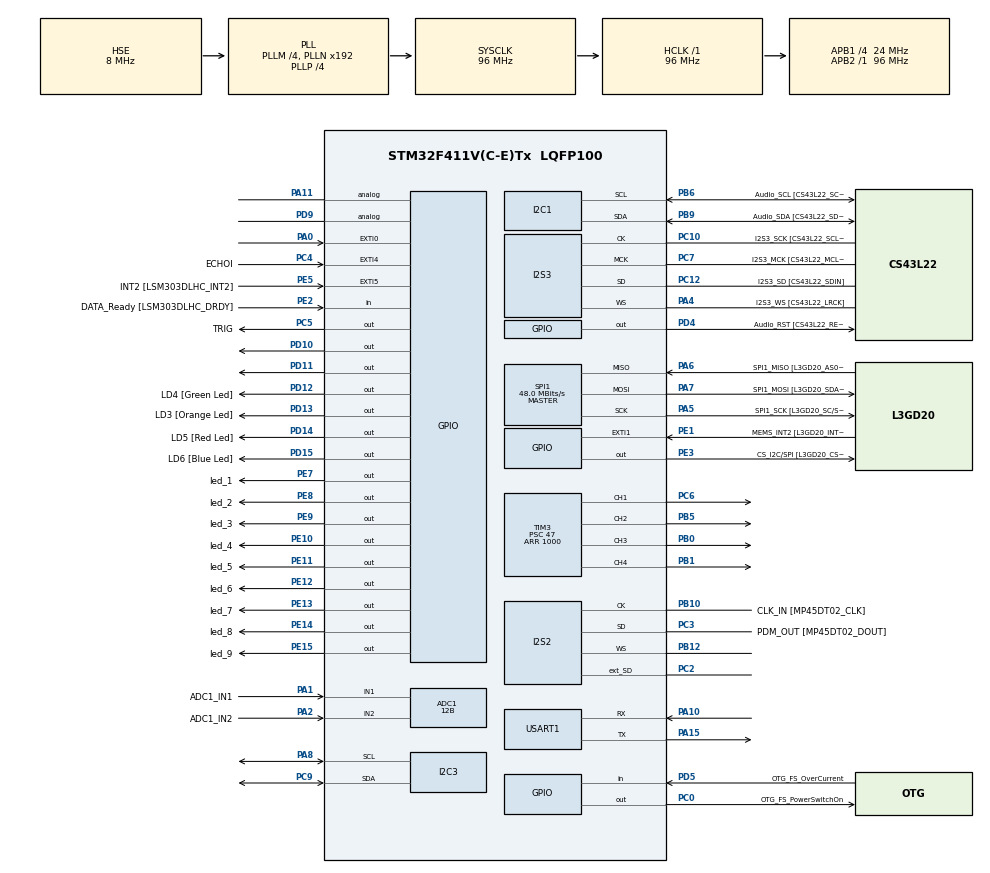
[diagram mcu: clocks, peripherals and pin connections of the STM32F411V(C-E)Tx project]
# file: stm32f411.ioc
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ADC1.Channel-0\#ChannelRegularConversion=ADC_CHANNEL_2
ADC1.Channel-1\#ChannelRegularConversion=ADC_CHANNEL_1
ADC1.ClockPrescaler=ADC_CLOCK_SYNC_PCLK_DIV4
ADC1.ContinuousConvMode=DISABLE
ADC1.DMAContinuousRequests=ENABLE
ADC1.DataAlign=ADC_DATAALIGN_RIGHT
ADC1.DiscontinuousConvMode=ENABLE
ADC1.EOCSelection=ADC_EOC_SINGLE_CONV
ADC1.EnableAnalogWatchDog=false
ADC1.ExternalTrigConv=ADC_SOFTWARE_START
ADC1.ExternalTrigConvEdge=ADC_EXTERNALTRIGCONVEDGE_NONE
ADC1.InjNumberOfConversion=0
ADC1.NbrOfConversion=2
ADC1.NbrOfConversionFlag=1
ADC1.NbrOfDiscConversion=1
ADC1.Rank-0\#ChannelRegularConversion=1
ADC1.Rank-1\#ChannelRegularConversion=2
ADC1.Resolution=ADC_RESOLUTION_12B
ADC1.SamplingTime-0\#ChannelRegularConversion=ADC_SAMPLETIME_56CYCLES
ADC1.SamplingTime-1\#ChannelRegularConversion=ADC_SAMPLETIME_56CYCLES
ADC1.ScanConvMode=ENABLE
ADC1.master=1
Dma.ADC1.0.Direction=DMA_PERIPH_TO_MEMORY
Dma.ADC1.0.FIFOMode=DMA_FIFOMODE_DISABLE
Dma.ADC1.0.Instance=DMA2_Stream0
Dma.ADC1.0.MemDataAlignment=DMA_MDATAALIGN_WORD
Dma.ADC1.0.MemInc=DMA_MINC_ENABLE
Dma.ADC1.0.Mode=DMA_CIRCULAR
Dma.ADC1.0.PeriphDataAlignment=DMA_PDATAALIGN_WORD
Dma.ADC1.0.PeriphInc=DMA_PINC_DISABLE
Dma.ADC1.0.Priority=DMA_PRIORITY_LOW
Dma.Request0=ADC1
I2S2.AudioFreq=I2S_AUDIOFREQ_96K
I2S2.ErrorAudioFreq=0.15 %
I2S2.FullDuplexMode=I2S_FULLDUPLEXMODE_ENABLE
I2S2.Instance=SPI$Index
I2S2.RealAudioFreq=96.153 KHz
I2S2.VirtualMode=I2S_MODE_MASTER
I2S3.AudioFreq=I2S_AUDIOFREQ_96K
I2S3.ErrorAudioFreq=-6.99 %
I2S3.FullDuplexMode=I2S_FULLDUPLEXMODE_DISABLE
I2S3.Instance=SPI$Index
I2S3.RealAudioFreq=89.285 KHz
I2S3.VirtualMode=I2S_MODE_MASTER
IWDG.Prescaler=IWDG_PRESCALER_32
IWDG.Reload=1024
Mcu.Family=STM32F4
Mcu.Name=STM32F411V(C-E)Tx
Mcu.Package=LQFP100
NVIC.ADC_IRQn=true\:0\:0\:false\:false\:true\:true
NVIC.DMA2_Stream0_IRQn=true\:0\:0\:false\:false\:true\:false
NVIC.EXTI4_IRQn=true\:0\:0\:false\:false\:true\:true
NVIC.PriorityGroup=NVIC_PRIORITYGROUP_0
NVIC.TIM1_TRG_COM_TIM11_IRQn=true\:0\:0\:false\:false\:true\:true
NVIC.TIM1_UP_TIM10_IRQn=true\:0\:0\:false\:false\:true\:true
NVIC.TIM3_IRQn=true\:0\:0\:false\:false\:true\:true
NVIC.USART1_IRQn=true\:0\:0\:false\:false\:true\:true
PA0-WKUP.GPIO_ModeDefaultEXTI=GPIO_MODE_EVT_RISING
PA0-WKUP.Signal=GPXTI0
PA1.GPIO_Label=ADC1_IN1
PA1.Signal=ADCx_IN1
PA10.Mode=Asynchronous
PA10.Signal=USART1_RX
PA11.Signal=GPIO_Analog
PA12.GPIO_Label=OTG_FS_DP
PA12.Signal=USB_OTG_FS_DP
PA13.GPIO_Label=SWDIO
PA13.Mode=Serial_Wire
PA13.Signal=SYS_JTMS-SWDIO
PA14.GPIO_Label=SWCLK
PA14.Mode=Serial_Wire
PA14.Signal=SYS_JTCK-SWCLK
PA15.Mode=Asynchronous
PA15.Signal=USART1_TX
PA2.GPIO_Label=ADC1_IN2
PA2.Signal=ADCx_IN2
PA4.GPIO_Label=I2S3_WS [CS43L22_LRCK]
PA4.GPIO_Mode=GPIO_MODE_AF_PP
PA4.GPIO_PuPd=GPIO_NOPULL
PA4.GPIO_Speed=GPIO_SPEED_FREQ_LOW
PA4.Mode=Half_Duplex_Master
PA4.Signal=I2S3_WS
PA5.GPIO_Label=SPI1_SCK [L3GD20_SC/SPC]
PA5.Mode=Full_Duplex_Master
PA5.Signal=SPI1_SCK
PA6.GPIO_Label=SPI1_MISO [L3GD20_AS0/SDO]
PA6.Mode=Full_Duplex_Master
PA6.Signal=SPI1_MISO
PA7.GPIO_Label=SPI1_MOSI [L3GD20_SDA/SDI/SDO]
PA7.Mode=Full_Duplex_Master
PA7.Signal=SPI1_MOSI
PA8.Mode=I2C
PA8.Signal=I2C3_SCL
PA9.GPIO_Label=VBUS_FS
PA9.Signal=USB_OTG_FS_VBUS
PB0.GPIO_Speed=GPIO_SPEED_FREQ_HIGH
PB0.Signal=S_TIM3_CH3
PB1.GPIO_Speed=GPIO_SPEED_FREQ_HIGH
PB1.Signal=S_TIM3_CH4
PB10.GPIO_Label=CLK_IN [MP45DT02_CLK]
PB10.Mode=Full_Duplex_Master
PB10.Signal=I2S2_CK
PB12.Mode=Full_Duplex_Master
PB12.Signal=I2S2_WS
PB3.GPIO_Label=SWO
PB3.Signal=SYS_JTDO-SWO
PB5.GPIO_Speed=GPIO_SPEED_FREQ_HIGH
PB5.Signal=S_TIM3_CH2
PB6.GPIO_Label=Audio_SCL [CS43L22_SCL]
PB6.GPIO_Mode=GPIO_MODE_AF_OD
PB6.GPIO_PuPd=GPIO_NOPULL
PB6.GPIO_Speed=GPIO_SPEED_FREQ_LOW
PB6.Mode=I2C
PB6.Signal=I2C1_SCL
PB9.GPIO_Label=Audio_SDA [CS43L22_SDA]
PB9.GPIO_Mode=GPIO_MODE_AF_OD
PB9.GPIO_PuPd=GPIO_NOPULL
PB9.GPIO_Speed=GPIO_SPEED_FREQ_LOW
PB9.Mode=I2C
PB9.Signal=I2C1_SDA
PC0.GPIO_Label=OTG_FS_PowerSwitchOn
PC0.PinState=GPIO_PIN_SET
PC0.Signal=GPIO_Output
PC10.GPIO_Label=I2S3_SCK [CS43L22_SCLK]
PC10.GPIO_Mode=GPIO_MODE_AF_PP
PC10.GPIO_PuPd=GPIO_NOPULL
PC10.GPIO_Speed=GPIO_SPEED_FREQ_LOW
PC10.Mode=Half_Duplex_Master
PC10.Signal=I2S3_CK
PC12.GPIO_Label=I2S3_SD [CS43L22_SDIN]
PC12.GPIO_Mode=GPIO_MODE_AF_PP
PC12.GPIO_PuPd=GPIO_NOPULL
PC12.GPIO_Speed=GPIO_SPEED_FREQ_LOW
PC12.Mode=Half_Duplex_Master
PC12.Signal=I2S3_SD
PC14-OSC32_IN.GPIO_Label=PC14-OSC32_IN
PC14-OSC32_IN.Mode=LSE-External-Oscillator
PC14-OSC32_IN.Signal=RCC_OSC32_IN
PC15-OSC32_OUT.GPIO_Label=PC15-OSC32_OUT
PC15-OSC32_OUT.Mode=LSE-External-Oscillator
PC15-OSC32_OUT.Signal=RCC_OSC32_OUT
PC2.Mode=Full_Duplex_Master
PC2.Signal=I2S2_ext_SD
PC3.GPIO_Label=PDM_OUT [MP45DT02_DOUT]
PC3.Mode=Full_Duplex_Master
PC3.Signal=I2S2_SD
PC4.GPIO_Label=ECHOI
PC4.GPIO_ModeDefaultEXTI=GPIO_MODE_IT_RISING_FALLING
PC4.Signal=GPXTI4
PC5.GPIO_Label=TRIG
PC5.Signal=GPIO_Output
PC6.GPIO_Speed=GPIO_SPEED_FREQ_HIGH
PC6.Signal=S_TIM3_CH1
PC7.GPIO_Label=I2S3_MCK [CS43L22_MCLK]
PC7.GPIO_Mode=GPIO_MODE_AF_PP
PC7.GPIO_PuPd=GPIO_NOPULL
PC7.GPIO_Speed=GPIO_SPEED_FREQ_LOW
PC7.Mode=Master_Clock_Activated
PC7.Signal=I2S3_MCK
PC9.Mode=I2C
PC9.Signal=I2C3_SDA
PD10.Signal=GPIO_Output
PD11.Signal=GPIO_Output
PD12.GPIO_Label=LD4 [Green Led]
PD12.GPIO_PuPd=GPIO_NOPULL
PD12.GPIO_Speed=GPIO_SPEED_FREQ_LOW
PD12.Signal=GPIO_Output
PD13.GPIO_Label=LD3 [Orange Led]
PD13.GPIO_PuPd=GPIO_NOPULL
PD13.GPIO_Speed=GPIO_SPEED_FREQ_LOW
PD13.Signal=GPIO_Output
PD14.GPIO_Label=LD5 [Red Led]
PD14.GPIO_PuPd=GPIO_NOPULL
PD14.GPIO_Speed=GPIO_SPEED_FREQ_LOW
PD14.Signal=GPIO_Output
PD15.GPIO_Label=LD6 [Blue Led]
PD15.GPIO_PuPd=GPIO_NOPULL
PD15.GPIO_Speed=GPIO_SPEED_FREQ_LOW
PD15.Signal=GPIO_Output
PD4.GPIO_Label=Audio_RST [CS43L22_RESET]
PD4.Signal=GPIO_Output
PD5.GPIO_Label=OTG_FS_OverCurrent
PD5.Signal=GPIO_Input
PD9.Signal=GPIO_Analog
PE1.GPIO_Label=MEMS_INT2 [L3GD20_INT2]
PE1.GPIO_ModeDefaultEXTI=GPIO_MODE_EVT_RISING
PE1.Signal=GPXTI1
PE10.GPIO_Label=led_4
PE10.Signal=GPIO_Output
PE11.GPIO_Label=led_5
PE11.Signal=GPIO_Output
PE12.GPIO_Label=led_6
PE12.Signal=GPIO_Output
PE13.GPIO_Label=led_7
PE13.Signal=GPIO_Output
PE14.GPIO_Label=led_8
PE14.Signal=GPIO_Output
PE15.GPIO_Label=led_9
PE15.Signal=GPIO_Output
PE2.GPIO_Label=DATA_Ready [LSM303DLHC_DRDY]
PE2.Signal=GPIO_Input
PE3.GPIO_Label=CS_I2C/SPI [L3GD20_CS_I2C/SPI]
PE3.Signal=GPIO_Output
PE5.GPIO_Label=INT2 [LSM303DLHC_INT2]
PE5.GPIO_ModeDefaultEXTI=GPIO_MODE_EVT_RISING
PE5.Signal=GPXTI5
PE7.GPIO_Label=led_1
PE7.Signal=GPIO_Output
PE8.GPIO_Label=led_2
PE8.Signal=GPIO_Output
PE9.GPIO_Label=led_3
PE9.Signal=GPIO_Output
PH0\ -\ OSC_IN.GPIO_Label=PH0-OSC_IN
PH0\ -\ OSC_IN.Mode=HSE-External-Oscillator
PH0\ -\ OSC_IN.Signal=RCC_OSC_IN
PH1\ -\ OSC_OUT.GPIO_Label=PH1-OSC_OUT
PH1\ -\ OSC_OUT.Mode=HSE-External-Oscillator
PH1\ -\ OSC_OUT.Signal=RCC_OSC_OUT
ProjectManager.HeapSize=0x200
ProjectManager.StackSize=0x400
ProjectManager.TargetToolchain=SW4STM32
RCC.48MHZClocksFreq_Value=48000000
RCC.AHBFreq_Value=96000000
RCC.APB1CLKDivider=RCC_HCLK_DIV4
RCC.APB1Freq_Value=24000000
RCC.APB1TimFreq_Value=48000000
RCC.APB2Freq_Value=96000000
RCC.APB2TimFreq_Value=96000000
RCC.CortexFreq_Value=96000000
RCC.HCLKFreq_Value=96000000
RCC.HSE_VALUE=8000000
RCC.HSI_VALUE=16000000
RCC.PLLI2SM=5
RCC.PLLI2SN=200
RCC.PLLM=4
RCC.PLLP=RCC_PLLP_DIV4
RCC.PLLQ=8
RCC.PLLSourceVirtual=RCC_PLLSOURCE_HSE
RCC.SYSCLKFreq_VALUE=96000000
RCC.SYSCLKSource=RCC_SYSCLKSOURCE_PLLCLK
RCC.VCOOutputFreq_Value=384000000
SH.ADCx_IN1.0=ADC1_IN1,IN1
SH.ADCx_IN2.0=ADC1_IN2,IN2
SH.S_TIM3_CH1.0=TIM3_CH1,PWM Generation1 CH1
SH.S_TIM3_CH2.0=TIM3_CH2,PWM Generation2 CH2
SH.S_TIM3_CH3.0=TIM3_CH3,PWM Generation3 CH3
SH.S_TIM3_CH4.0=TIM3_CH4,PWM Generation4 CH4
SPI1.BaudRatePrescaler=SPI_BAUDRATEPRESCALER_2
SPI1.CalculateBaudRate=48.0 MBits/s
SPI1.Direction=SPI_DIRECTION_2LINES
SPI1.Mode=SPI_MODE_MASTER
SPI1.VirtualType=VM_MASTER
TIM10.Period=10000
TIM10.Prescaler=63
TIM11.Period=10000
TIM11.Prescaler=47
TIM3.Channel-PWM\ Generation1\ CH1=TIM_CHANNEL_1
TIM3.Channel-PWM\ Generation2\ CH2=TIM_CHANNEL_2
TIM3.Channel-PWM\ Generation3\ CH3=TIM_CHANNEL_3
TIM3.Channel-PWM\ Generation4\ CH4=TIM_CHANNEL_4
TIM3.Period=1000
TIM3.Prescaler=47
USART1.VirtualMode=VM_ASYNC
VP_IWDG_VS_IWDG.Mode=IWDG_Activate
VP_TIM10_VS_ClockSourceINT.Mode=Enable_Timer
VP_TIM11_VS_ClockSourceINT.Mode=Enable_Timer
VP_TIM3_VS_ClockSourceINT.Mode=Internal
board=32F411EDISCOVERY

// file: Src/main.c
/**
  ******************************************************************************
  * @file           : main.c
  * @brief          : Main program body
  ******************************************************************************
  ** This notice applies to any and all portions of this file
  * that are not between comment pairs USER CODE BEGIN and
  * USER CODE END. Other portions of this file, whether
  * inserted by the user or by software development tools
  * are owned by their respective copyright owners.
  *
  * COPYRIGHT(c) 2019 STMicroelectronics
  *
  * Redistribution and use in source and binary forms, with or without modification,
  * are permitted provided that the following conditions are met:
  *   1. Redistributions of source code must retain the above copyright notice,
  *      this list of conditions and the following disclaimer.
  *   2. Redistributions in binary form must reproduce the above copyright notice,
  *      this list of conditions and the following disclaimer in the documentation
  *      and/or other materials provided with the distribution.
  *   3. Neither the name of STMicroelectronics nor the names of its contributors
  *      may be used to endorse or promote products derived from this software
  *      without specific prior written permission.
  *
  * THIS SOFTWARE IS PROVIDED BY THE COPYRIGHT HOLDERS AND CONTRIBUTORS "AS IS"
  * AND ANY EXPRESS OR IMPLIED WARRANTIES, INCLUDING, BUT NOT LIMITED TO, THE
  * IMPLIED WARRANTIES OF MERCHANTABILITY AND FITNESS FOR A PARTICULAR PURPOSE ARE
  * DISCLAIMED. IN NO EVENT SHALL THE COPYRIGHT HOLDER OR CONTRIBUTORS BE LIABLE
  * FOR ANY DIRECT, INDIRECT, INCIDENTAL, SPECIAL, EXEMPLARY, OR CONSEQUENTIAL
  * DAMAGES (INCLUDING, BUT NOT LIMITED TO, PROCUREMENT OF SUBSTITUTE GOODS OR
  * SERVICES; LOSS OF USE, DATA, OR PROFITS; OR BUSINESS INTERRUPTION) HOWEVER
  * CAUSED AND ON ANY THEORY OF LIABILITY, WHETHER IN CONTRACT, STRICT LIABILITY,
  * OR TORT (INCLUDING NEGLIGENCE OR OTHERWISE) ARISING IN ANY WAY OUT OF THE USE
  * OF THIS SOFTWARE, EVEN IF ADVISED OF THE POSSIBILITY OF SUCH DAMAGE.
  *
  ******************************************************************************
  */
#include "main.h"
#include "stm32f4xx_hal.h"
#include "adc.h"
#include "dma.h"
#include "i2c.h"
#include "i2s.h"
#include "iwdg.h"
#include "spi.h"
#include "tim.h"
#include "usart.h"
#include "gpio.h"

/* USER CODE BEGIN Includes */
#include <string.h>
#include "I2C.h"
#include "math.h"
#include "I2C_LCD.h"
/* USER CODE END Includes */

/* USER CODE BEGIN PV */
/* Private variables ---------------------------------------------------------*/

/* USER CODE END PV */

void SystemClock_Config(void);

/* USER CODE BEGIN PFP */
/* Private function prototypes -----------------------------------------------*/

/* USER CODE END PFP */

/* USER CODE BEGIN 0 */
void init_timing();
void get_distance();
void udelay(uint32_t useconds);

typedef enum state_t {                                                                               // the struct with states for rangefinder
	 IDLE_S,
	 TRIGGERING_S,
	 WAITING_FOR_ECHO_START_S,
	 WAITING_FOR_ECHO_STOP_S,
	 TRIG_NOT_WENT_LOW_S,
	 ECHO_TIMEOUT_S,
	 ECHO_NOT_WENT_LOW_S,
	 READING_DATA_S,
	 ERROR_S
} state_t;

char str[18];
uint32_t ADC_BUF[2];                                                                                 // the buffer to store the data from adc
uint8_t information[4] = {0, 0, 0, 0};
int last_id = -1;

int level = -1;                                                                                      // the level of water
int lighting = -1;                                                                                   // the current lighting level
int humidity = -1;																					 // the current humidity level
int previous_lcd_reload_period = 0;                                                                  // the last time display was reloaded
int previous_data_updated_period = 0;                                                                // the last time the data on display was updated
int ip_first = 0, ip_second = 0, ip_third = 0, ip_fourth = 0;

volatile state_t state = IDLE_S;                                                                     //  checks rangefinder state
volatile uint32_t echo_start;                                                                        //  the time when signal starts
volatile uint32_t echo_finish;                                                                       //  the time when signal ends
volatile uint32_t measured_time;                                                                     //  the time that signal travels
volatile uint32_t tim10_overflows = 0;                                                               //  the variable to null 10th timer

#define SIZE_OF_CHECKED_DATA                    10000                                                // the number of values to get the middle one
#define MINIMUM_LIGHTING                        0                                                    // the minimum adc lighting level
#define MAXIMUM_LIGHTING                        1200                                                 // the maximum adc lighting value
#define MINIMUM_HUMIDITY                        0                                                    // the minimum adc humidity value
#define MAXIMUM_HUMIDITY                        3100                                                 // the maximum adc humidity value
#define USE_TIM10_TIMING                        1                                                    // defined to use the 10th time
#define TIME_TO_UPDATE_LCD_DATA                 1000												 // the period to update the data on lcd (milliseconds)
#define TIME_TO_RELOAD_LCD                      10000												 // the period to fully reload lcd (milliseconds)
#define SYSTEM_CORE_CLOCK_IN_MHZ                (SystemCoreClock / 1000000)							 // the system core frequency
#define LCD_NOT_RELOADED_PERIOD                 (HAL_GetTick() - previous_lcd_reload_period)         // the period of time while display wasn't reloaded
#define LCD_DATA_NOT_UPDATED_PERIOD             (HAL_GetTick() - previous_data_updated_period)       // the period of time while data on display wasn't updated

// the function scale the value of lighting and humidity from adc to scale from 0 to 100
uint32_t convert(uint32_t value, uint32_t max, uint32_t min){
	value = value - min;
	if (value <= 0)
		return 0;

	uint32_t step = (uint32_t)(max - min) / 100;
	uint32_t converted = (uint32_t)(value / step);

	if(converted > 100) return 100;
	if(converted < 0) return 0;

	return converted;
}

// the function get the arithmetic mean of the data, using the SIZE_OF_CHECKED_DATA
// as the total number of observed data
uint32_t get_middle_value(uint32_t* array){
	uint32_t middle_value = 0;
	uint32_t sum = 0;

	for(int i = 0; i < SIZE_OF_CHECKED_DATA; i++){
		sum += *(array + i);
	}

	middle_value = (uint32_t)(sum / SIZE_OF_CHECKED_DATA);

	return middle_value;
}

// the function gets values of lighting and humidity from adc applying to them
// get_middle_value() function
uint32_t* get_data(){
	  uint32_t adcResultsLighting[SIZE_OF_CHECKED_DATA] = {0};
	  uint32_t adcResultsHumidity[SIZE_OF_CHECKED_DATA] = {0};

	  for(int i = 0; i < SIZE_OF_CHECKED_DATA; i++){
		  HAL_ADC_Start_DMA(&hadc1, (uint32_t*)ADC_BUF, 2);
		  HAL_ADC_Start_IT(&hadc1);
		  adcResultsLighting[i] = ADC_BUF[0];
		  adcResultsHumidity[i] = ADC_BUF[1];
	  }

	  static uint32_t middleValues[2];
	  middleValues[0] = get_middle_value(adcResultsLighting);
	  middleValues[1] = get_middle_value(adcResultsHumidity);

	  return middleValues;
}

// the function to print the
// main data on it
void initialize_and_update_display(int addr){
	//LCD_Print(0, "  Flower - Station  ");
	LCD_Init(addr<<1, hi2c3);
	init_timing();
	LCD_ADDR = addr<<1;
	HAL_GPIO_WritePin(TRIG_GPIO_Port, TRIG_Pin, GPIO_PIN_RESET);
	LCD_Clear();
	LCD_PPrint(0, 0, "Light: ");
	LCD_PPrint(1, 0,  "Humid: ");
	//LCD_Print(3, "Water level:       %");
}

// the function gets converted lighting and humidity and stores them
// to the glodal variables
void get_lighting_and_huminity(){
	uint32_t* data = get_data();
	lighting = convert(data[0], MAXIMUM_LIGHTING, MINIMUM_LIGHTING);
	humidity = convert(data[1], MAXIMUM_HUMIDITY, MINIMUM_HUMIDITY);
}

// the function gets the level of water using the formula which
// depends on the height of water container
void get_water_level(){
	get_distance();
	uint32_t distance = measured_time/58;
	level = ceill((11.5 - distance) * 8.7);
	if(level > 100) level = 100;
	if(level < 0) level = 0;
}

// the function gets distance using busy loops
void get_distance(){
	HAL_GPIO_WritePin(TRIG_GPIO_Port, TRIG_Pin, GPIO_PIN_SET);
	udelay(16);
	HAL_GPIO_WritePin(TRIG_GPIO_Port, TRIG_Pin, GPIO_PIN_RESET);

	state = WAITING_FOR_ECHO_START_S;
	while (state == WAITING_FOR_ECHO_START_S && state != ERROR_S){}
	while (state == WAITING_FOR_ECHO_STOP_S && state != ERROR_S ){}
}

// the function sends data to esp8266 using UART protocol
void send_data_to_esp(){
	uint32_t buffer_data = lighting * 5000 + level;
	char buffer[11];
	snprintf(buffer, sizeof buffer, "%lu\n", buffer_data);
	HAL_UART_Transmit(&huart1, buffer, strlen(buffer), HAL_MAX_DELAY);
}

void HAL_TIM_PeriodElapsedCallback(TIM_HandleTypeDef *htim)
{
	if(htim->Instance == TIM10){ ++tim10_overflows; }
}

void TIM10_reinit()
{
	 HAL_TIM_Base_Stop(&htim10);
	 __HAL_TIM_SET_PRESCALER( &htim10, (SYSTEM_CORE_CLOCK_IN_MHZ - 1) );
	 __HAL_TIM_SET_COUNTER( &htim10, 0 );
	 tim10_overflows = 0;
	 HAL_TIM_Base_Start_IT(&htim10);
}

uint32_t get_tim10_us()
{
	 __HAL_TIM_DISABLE_IT(&htim10, TIM_IT_UPDATE);
	 //__disable_irq();
	 uint32_t res = tim10_overflows * 10000 + __HAL_TIM_GET_COUNTER(&htim10);
	 //__enable_irq();
	 __HAL_TIM_ENABLE_IT(&htim10, TIM_IT_UPDATE);
	 return res;
}

void udelay_TIM10(uint32_t useconds) {
	 uint32_t before = get_tim10_us();
	 while( get_tim10_us() < before + useconds){}
}

void init_timing()
{
	#ifdef  USE_HAL_DELAY_AND_ASM
		return;
	#elif defined USE_DWT_TIMING
		DWT_Init();
	#elif defined USE_TIM10_TIMING
		TIM10_reinit();
	#else
		#error "Unknown timing method."
	#endif
}

uint32_t get_us()
{
	#ifdef  USE_HAL_DELAY_AND_ASM
		return 1000*HAL_GetTick();
	#elif defined USE_DWT_TIMING
		return get_DWT_us();
	#elif defined USE_TIM10_TIMING
		return get_tim10_us();
	#else
		#error "Unknown timing method."
	#endif
}

void HAL_GPIO_EXTI_Callback(uint16_t GPIO_Pin)
{
	 if (GPIO_Pin == ECHOI_Pin)
	 {
		 switch (state) {
		 case WAITING_FOR_ECHO_START_S: {
			 echo_start = get_us();
			 state = WAITING_FOR_ECHO_STOP_S;
			 break;
		 }
		 case WAITING_FOR_ECHO_STOP_S: {
			 echo_finish = get_us();
			 measured_time = echo_finish - echo_start;
			 state = READING_DATA_S;
			 break;
		 }
		 default:
			 state = ERROR_S;
		 }
	 }
}

void udelay(uint32_t useconds)
{
	#ifdef  USE_HAL_DELAY_AND_ASM
	 	 udelay_asm(useconds);
	#elif defined USE_DWT_TIMING
	 	 udelay_DWT(useconds);
	#elif defined USE_TIM10_TIMING
	 	 udelay_TIM10(useconds);
	#else
		#error "Unknown timing method."
	#endif
}

/* USER CODE END 0 */

int main(void)
{
  /* USER CODE BEGIN 1 */
//	extern void initialise_monitor_handles(void);
//	initialise_monitor_handles();
  /* USER CODE END 1 */

  /* MCU Configuration----------------------------------------------------------*/

  /* Reset of all peripherals, Initializes the Flash interface and the Systick. */
  HAL_Init();

  /* Configure the system clock */
  SystemClock_Config();

  /* Initialize all configured peripherals */
  MX_GPIO_Init();
  HAL_GPIO_WritePin(GPIOD, GPIO_PIN_11, 1);
  MX_DMA_Init();
  MX_I2C1_Init();
  MX_I2S2_Init();
  MX_I2S3_Init();
  MX_SPI1_Init();
  MX_ADC1_Init();
  MX_TIM3_Init();
  MX_I2C3_Init();
  MX_TIM10_Init();
  MX_TIM11_Init();
  MX_IWDG_Init();
  MX_USART1_UART_Init();
  /* USER CODE BEGIN 2 */
  HAL_ADC_Start_DMA(&hadc1, (uint32_t*)ADC_BUF, 2);
  HAL_TIM_PWM_Start(&htim3, TIM_CHANNEL_1);

  int carr = 0x3f;
  initialize_and_update_display(carr);
  LCD_PPrint(0, 0, "Ip is loading...");
  int watered = 0;
  int pump_started = 0;
  int time_start = HAL_GetTick();
  int level_updated = HAL_GetTick();

  uint8_t str[20];
  HAL_UART_Receive_IT(&huart1,(uint8_t*) str, 20);
  //search_I2C_bus_without_semihosting(hi2c3);
  /* USER CODE END 2 */

  /* Infinite loop */
  /* USER CODE BEGIN WHILE */
  while (1)
  {
	get_lighting_and_huminity();

	if(HAL_GetTick() - time_start <= 10000){
		HAL_UART_Receive_IT(&huart1, (uint8_t*) str, 20);
		if(LCD_DATA_NOT_UPDATED_PERIOD > 1000){
			char str_lcd[] = "                    ";
			int i = 0;
			while(*(str + i) != (uint8_t)'-'){
				*(str_lcd + i) = *(str + i);
				i++;
			}
			LCD_PPrint(0, 0, str_lcd);
			previous_data_updated_period = HAL_GetTick();
		}
	}else{
		if(LCD_DATA_NOT_UPDATED_PERIOD > TIME_TO_UPDATE_LCD_DATA){
				LCD_PPrintInt(0, 9, lighting, 10);
				LCD_PPrintInt(1, 9, humidity, 10);
				previous_data_updated_period = HAL_GetTick();
			}

			if(LCD_NOT_RELOADED_PERIOD > TIME_TO_RELOAD_LCD){
				LCD_Clear();
				initialize_and_update_display(carr);
				previous_lcd_reload_period = HAL_GetTick();
			}
	}

	if(HAL_GetTick() - level_updated > 3000){
		get_water_level();
		level_updated = HAL_GetTick();
	}

	if(level < 15){
		HAL_GPIO_WritePin(GPIOD, GPIO_PIN_11, 1);
	}
	else{
		if (15 > humidity && humidity >= 0 && watered == 0){
			HAL_GPIO_WritePin(GPIOD, GPIO_PIN_11, 0);
			pump_started = HAL_GetTick();
			watered = 1;
		}
		if (watered && HAL_GetTick() - pump_started > 5000){
			HAL_GPIO_WritePin(GPIOD, GPIO_PIN_11, 1);
		}
		if (watered && HAL_GetTick() - pump_started > 10000){
			watered = 0;
		}
	}

	TIM3->CCR1 = 1000 - lighting * 10; // PWM

	send_data_to_esp();

	HAL_IWDG_Refresh(&hiwdg);

  /* USER CODE END WHILE */

  }

}

void SystemClock_Config(void)
{

  RCC_OscInitTypeDef RCC_OscInitStruct;
  RCC_ClkInitTypeDef RCC_ClkInitStruct;
  RCC_PeriphCLKInitTypeDef PeriphClkInitStruct;

    /**Configure the main internal regulator output voltage
    */
  __HAL_RCC_PWR_CLK_ENABLE();

  __HAL_PWR_VOLTAGESCALING_CONFIG(PWR_REGULATOR_VOLTAGE_SCALE1);

    /**Initializes the CPU, AHB and APB busses clocks
    */
  RCC_OscInitStruct.OscillatorType = RCC_OSCILLATORTYPE_LSI|RCC_OSCILLATORTYPE_HSE;
  RCC_OscInitStruct.HSEState = RCC_HSE_ON;
  RCC_OscInitStruct.LSIState = RCC_LSI_ON;
  RCC_OscInitStruct.PLL.PLLState = RCC_PLL_ON;
  RCC_OscInitStruct.PLL.PLLSource = RCC_PLLSOURCE_HSE;
  RCC_OscInitStruct.PLL.PLLM = 4;
  RCC_OscInitStruct.PLL.PLLN = 192;
  RCC_OscInitStruct.PLL.PLLP = RCC_PLLP_DIV4;
  RCC_OscInitStruct.PLL.PLLQ = 8;
  if (HAL_RCC_OscConfig(&RCC_OscInitStruct) != HAL_OK)
  {
    _Error_Handler(__FILE__, __LINE__);
  }

    /**Initializes the CPU, AHB and APB busses clocks
    */
  RCC_ClkInitStruct.ClockType = RCC_CLOCKTYPE_HCLK|RCC_CLOCKTYPE_SYSCLK
                              |RCC_CLOCKTYPE_PCLK1|RCC_CLOCKTYPE_PCLK2;
  RCC_ClkInitStruct.SYSCLKSource = RCC_SYSCLKSOURCE_PLLCLK;
  RCC_ClkInitStruct.AHBCLKDivider = RCC_SYSCLK_DIV1;
  RCC_ClkInitStruct.APB1CLKDivider = RCC_HCLK_DIV4;
  RCC_ClkInitStruct.APB2CLKDivider = RCC_HCLK_DIV1;

  if (HAL_RCC_ClockConfig(&RCC_ClkInitStruct, FLASH_LATENCY_3) != HAL_OK)
  {
    _Error_Handler(__FILE__, __LINE__);
  }

  PeriphClkInitStruct.PeriphClockSelection = RCC_PERIPHCLK_I2S;
  PeriphClkInitStruct.PLLI2S.PLLI2SN = 200;
  PeriphClkInitStruct.PLLI2S.PLLI2SM = 5;
  PeriphClkInitStruct.PLLI2S.PLLI2SR = 2;
  if (HAL_RCCEx_PeriphCLKConfig(&PeriphClkInitStruct) != HAL_OK)
  {
    _Error_Handler(__FILE__, __LINE__);
  }

    /**Configure the Systick interrupt time
    */
  HAL_SYSTICK_Config(HAL_RCC_GetHCLKFreq()/1000);

    /**Configure the Systick
    */
  HAL_SYSTICK_CLKSourceConfig(SYSTICK_CLKSOURCE_HCLK);

  /* SysTick_IRQn interrupt configuration */
  HAL_NVIC_SetPriority(SysTick_IRQn, 0, 0);
}

void _Error_Handler(char *file, int line)
{
  while(1)
  {
  }
}

/************************ (C) COPYRIGHT STMicroelectronics *****END OF FILE****/
